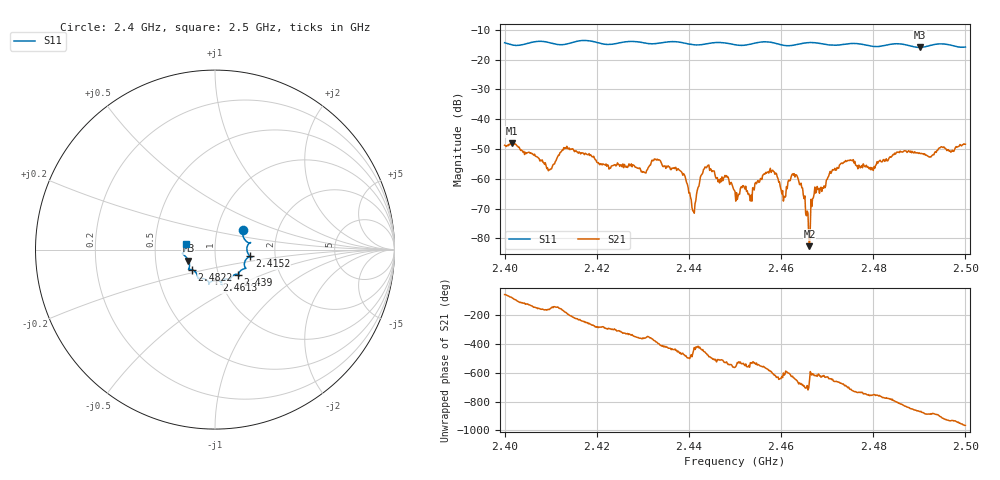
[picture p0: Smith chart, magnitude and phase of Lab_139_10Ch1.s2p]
# Hz S RI R 50
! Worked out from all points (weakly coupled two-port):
!   601 points, 2.4 GHz to 2.5 GHz, reference 50 ohm
!   highest |S21| = -48.16 dB at 2.4015 GHz (marker M1); lowest = -82.6 dB at 2.4662 GHz (marker M2)
!   lowest |S11| = -15.9 dB at 2.4902 GHz (marker M3), VSWR 1.38, Z = 36.9 - j4.63 ohm
!   |S11| at or under -10 dB: start of sweep to end of sweep
!   S12 and S22 are empty: the file has one direction only
!   S11 on the Smith chart (normalised r, x): 2.4 GHz: 1.33, +0.31; 2.4152 GHz: 1.48, -0.11; 2.439 GHz: 1.24, -0.36; 2.4613 GHz: 0.96, -0.34; 2.4822 GHz: 0.76, -0.17; 2.5 GHz: 0.72, +0.05
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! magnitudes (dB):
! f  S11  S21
! 2.4 GHz  -14.4  -48.8
! 2.4015 GHz  -15.0  -48.2
! 2.4097 GHz  -14.3  -56.9
! 2.4152 GHz  -14.1  -50.9
! 2.4167 GHz  -13.6  -51.3
! 2.4302 GHz  -14.4  -57.7
! 2.4333 GHz  -14.5  -53.8
! 2.439 GHz  -14.5  -58.7
! 2.441 GHz  -15.0  -71.0
! 2.4438 GHz  -14.7  -56.3
! 2.45 GHz  -15.0  -64.3
! 2.458 GHz  -14.3  -57.3
! 2.4613 GHz  -15.3  -63.4
! 2.4633 GHz  -15.0  -58.7
! 2.4662 GHz  -14.3  -82.6
! 2.4667 GHz  -14.3  -69.3
! 2.4677 GHz  -14.4  -64.2
! 2.4732 GHz  -15.0  -54.7
! 2.4822 GHz  -15.4  -53.6
! 2.4833 GHz  -15.0  -53.4
! 2.4902 GHz  -15.9  -51.5
! 2.5 GHz  -15.8  -48.4
